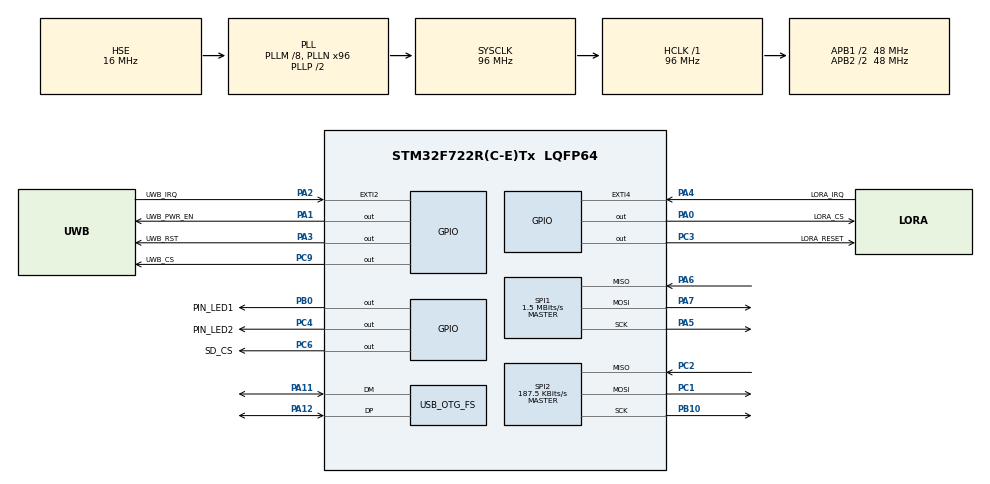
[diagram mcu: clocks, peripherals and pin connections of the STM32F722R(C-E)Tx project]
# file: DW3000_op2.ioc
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Mcu.Family=STM32F7
Mcu.Name=STM32F722R(C-E)Tx
Mcu.Package=LQFP64
NVIC.EXTI2_IRQn=true\:0\:0\:false\:false\:true\:true\:true\:true
NVIC.EXTI4_IRQn=true\:0\:0\:false\:false\:true\:true\:true\:true
NVIC.OTG_FS_IRQn=true\:0\:0\:false\:false\:true\:false\:true\:true
NVIC.PriorityGroup=NVIC_PRIORITYGROUP_4
PA0-WKUP.GPIO_Label=LORA_CS
PA0-WKUP.GPIO_PuPd=GPIO_PULLUP
PA0-WKUP.PinState=GPIO_PIN_SET
PA0-WKUP.Signal=GPIO_Output
PA1.GPIO_Label=UWB_PWR_EN
PA1.Signal=GPIO_Output
PA11.Mode=Device_Only
PA11.Signal=USB_OTG_FS_DM
PA12.Mode=Device_Only
PA12.Signal=USB_OTG_FS_DP
PA13.Mode=Serial_Wire
PA13.Signal=SYS_JTMS-SWDIO
PA14.Mode=Serial_Wire
PA14.Signal=SYS_JTCK-SWCLK
PA2.GPIO_Label=UWB_IRQ
PA2.GPIO_ModeDefaultEXTI=GPIO_MODE_IT_RISING
PA2.Signal=GPXTI2
PA3.GPIO_Label=UWB_RST
PA3.Signal=GPIO_Output
PA4.GPIO_Label=LORA_IRQ
PA4.GPIO_PuPd=GPIO_PULLDOWN
PA4.Signal=GPXTI4
PA5.Mode=Full_Duplex_Master
PA5.Signal=SPI1_SCK
PA6.Mode=Full_Duplex_Master
PA6.Signal=SPI1_MISO
PA7.Mode=Full_Duplex_Master
PA7.Signal=SPI1_MOSI
PB0.GPIO_Label=PIN_LED1
PB0.Signal=GPIO_Output
PB10.Mode=Full_Duplex_Master
PB10.Signal=SPI2_SCK
PC1.Mode=Full_Duplex_Master
PC1.Signal=SPI2_MOSI
PC14-OSC32_IN.Mode=LSE-External-Oscillator
PC14-OSC32_IN.Signal=RCC_OSC32_IN
PC15-OSC32_OUT.Mode=LSE-External-Oscillator
PC15-OSC32_OUT.Signal=RCC_OSC32_OUT
PC2.Mode=Full_Duplex_Master
PC2.Signal=SPI2_MISO
PC3.GPIO_Label=LORA_RESET
PC3.GPIO_PuPd=GPIO_PULLUP
PC3.Signal=GPIO_Output
PC4.GPIO_Label=PIN_LED2
PC4.Signal=GPIO_Output
PC6.GPIO_Label=SD_CS
PC6.GPIO_PuPd=GPIO_PULLUP
PC6.Signal=GPIO_Output
PC9.GPIO_Label=UWB_CS
PC9.GPIO_PuPd=GPIO_PULLUP
PC9.PinState=GPIO_PIN_SET
PC9.Signal=GPIO_Output
PH0-OSC_IN.Mode=HSE-External-Oscillator
PH0-OSC_IN.Signal=RCC_OSC_IN
PH1-OSC_OUT.Mode=HSE-External-Oscillator
PH1-OSC_OUT.Signal=RCC_OSC_OUT
ProjectManager.HeapSize=0x200
ProjectManager.StackSize=0x400
ProjectManager.TargetToolchain=STM32CubeIDE
RCC.AHBFreq_Value=96000000
RCC.APB1CLKDivider=RCC_HCLK_DIV2
RCC.APB1Freq_Value=48000000
RCC.APB1TimFreq_Value=96000000
RCC.APB2CLKDivider=RCC_HCLK_DIV2
RCC.APB2Freq_Value=48000000
RCC.APB2TimFreq_Value=96000000
RCC.CortexFreq_Value=96000000
RCC.HCLKFreq_Value=96000000
RCC.HSE_VALUE=16000000
RCC.HSI_VALUE=16000000
RCC.PLLM=8
RCC.PLLN=96
RCC.PLLQ=4
RCC.PWREXT_OverDrive=PWREXT_OverDrive_ACTIVATED
RCC.PWR_Regulator_Voltage_Scale=PWR_REGULATOR_VOLTAGE_SCALE1
RCC.SYSCLKFreq_VALUE=96000000
RCC.SYSCLKSource=RCC_SYSCLKSOURCE_PLLCLK
RCC.USBFreq_Value=48000000
RCC.VCOOutputFreq_Value=192000000
SPI1.BaudRatePrescaler=SPI_BAUDRATEPRESCALER_32
SPI1.CalculateBaudRate=1.5 MBits/s
SPI1.DataSize=SPI_DATASIZE_8BIT
SPI1.Direction=SPI_DIRECTION_2LINES
SPI1.Mode=SPI_MODE_MASTER
SPI1.VirtualType=VM_MASTER
SPI2.BaudRatePrescaler=SPI_BAUDRATEPRESCALER_256
SPI2.CalculateBaudRate=187.5 KBits/s
SPI2.DataSize=SPI_DATASIZE_8BIT
SPI2.Direction=SPI_DIRECTION_2LINES
SPI2.Mode=SPI_MODE_MASTER
SPI2.VirtualType=VM_MASTER
USB_DEVICE.CLASS_NAME_FS=CDC
USB_DEVICE.VirtualMode-CDC_FS=Cdc
USB_DEVICE.VirtualModeFS=Cdc_FS
USB_OTG_FS.VirtualMode=Device_Only
VP_FATFS_VS_Generic.Mode=User_defined
VP_USB_DEVICE_VS_USB_DEVICE_CDC_FS.Mode=CDC_FS
board=custom

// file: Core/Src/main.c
/* USER CODE BEGIN Header */
/**
  ******************************************************************************
  * @file           : main.c
  * @brief          : Main program body
  ******************************************************************************
  * @attention
  *
  * Copyright (c) 2025 STMicroelectronics.
  * All rights reserved.
  *
  * This software is licensed under terms that can be found in the LICENSE file
  * in the root directory of this software component.
  * If no LICENSE file comes with this software, it is provided AS-IS.
  *
  ******************************************************************************
  */
/* USER CODE END Header */
#include "main.h"
#include "fatfs.h"
#include "usb_device.h"

SPI_HandleTypeDef hspi1;
SPI_HandleTypeDef hspi2;

void SystemClock_Config(void);
static void MX_GPIO_Init(void);
static void MX_SPI1_Init(void);
static void MX_SPI2_Init(void);

int main(void)
{

  /* MCU Configuration--------------------------------------------------------*/

  /* Reset of all peripherals, Initializes the Flash interface and the Systick. */
  HAL_Init();

  /* Configure the system clock */
  SystemClock_Config();

  /* Initialize all configured peripherals */
  MX_GPIO_Init();
  MX_SPI1_Init();
  MX_SPI2_Init();
  MX_FATFS_Init();
  MX_USB_DEVICE_Init();
  /* USER CODE BEGIN 2 */

  HAL_Delay(200); // Time needed for DW3000 to start up (transition from INIT_RC to IDLE_RC, or could wait for SPIRDY event)

  while (!dwt_checkidlerc()) { // Need to make sure DW IC is in IDLE_RC before proceeding
    test_run_info((unsigned char *)"IDLE FAILED01\r\n");
    while (100)
      ;
  }

  dwt_softreset();
  delay(200);

  while (!dwt_checkidlerc()) {// Need to make sure DW IC is in IDLE_RC before proceeding
    test_run_info((unsigned char *)"IDLE FAILED02\r\n");
    while (100)
      ;
  }

  // test_run_info((unsigned char *)"IDLE OK\r\n");
  if (dwt_initialise(DWT_DW_INIT) == DWT_ERROR) {
    test_run_info((unsigned char *)"INIT FAILED\r\n");
    while (100)
      ;
  }
  // test_run_info((unsigned char *)"INIT OK\r\n");

  // Enabling LEDs here for debug so that for each TX the D1 LED will flash on DW3000 red eval-shield boards.
  dwt_setleds(DWT_LEDS_ENABLE | DWT_LEDS_INIT_BLINK);

  // Configure DW IC. See NOTE 5 below.
  if (dwt_configure(&config)) // if the dwt_configure returns DWT_ERROR either the PLL or RX calibration has failed the host should reset the device
  {
    test_run_info((unsigned char *)"CONFIG FAILED\r\n");
    while (100)
      ;
  }
  // test_run_info((unsigned char *)"CONFIG OK\r\n");
  /* Configure the TX spectrum parameters (power PG delay and PG Count) */
  dwt_configuretxrf(&txconfig_options);

  /* USER CODE END 2 */

  /* Infinite loop */
  while (1)
  {

  }
}

void SystemClock_Config(void)
{
  RCC_OscInitTypeDef RCC_OscInitStruct = {0};
  RCC_ClkInitTypeDef RCC_ClkInitStruct = {0};

  /** Configure LSE Drive Capability
  */
  HAL_PWR_EnableBkUpAccess();

  /** Configure the main internal regulator output voltage
  */
  __HAL_RCC_PWR_CLK_ENABLE();
  __HAL_PWR_VOLTAGESCALING_CONFIG(PWR_REGULATOR_VOLTAGE_SCALE1);

  /** Initializes the RCC Oscillators according to the specified parameters
  * in the RCC_OscInitTypeDef structure.
  */
  RCC_OscInitStruct.OscillatorType = RCC_OSCILLATORTYPE_HSE;
  RCC_OscInitStruct.HSEState = RCC_HSE_ON;
  RCC_OscInitStruct.PLL.PLLState = RCC_PLL_ON;
  RCC_OscInitStruct.PLL.PLLSource = RCC_PLLSOURCE_HSE;
  RCC_OscInitStruct.PLL.PLLM = 8;
  RCC_OscInitStruct.PLL.PLLN = 96;
  RCC_OscInitStruct.PLL.PLLP = RCC_PLLP_DIV2;
  RCC_OscInitStruct.PLL.PLLQ = 4;
  if (HAL_RCC_OscConfig(&RCC_OscInitStruct) != HAL_OK)
  {
    Error_Handler();
  }

  /** Activate the Over-Drive mode
  */
  if (HAL_PWREx_EnableOverDrive() != HAL_OK)
  {
    Error_Handler();
  }

  /** Initializes the CPU, AHB and APB buses clocks
  */
  RCC_ClkInitStruct.ClockType = RCC_CLOCKTYPE_HCLK|RCC_CLOCKTYPE_SYSCLK
                              |RCC_CLOCKTYPE_PCLK1|RCC_CLOCKTYPE_PCLK2;
  RCC_ClkInitStruct.SYSCLKSource = RCC_SYSCLKSOURCE_PLLCLK;
  RCC_ClkInitStruct.AHBCLKDivider = RCC_SYSCLK_DIV1;
  RCC_ClkInitStruct.APB1CLKDivider = RCC_HCLK_DIV2;
  RCC_ClkInitStruct.APB2CLKDivider = RCC_HCLK_DIV2;

  if (HAL_RCC_ClockConfig(&RCC_ClkInitStruct, FLASH_LATENCY_3) != HAL_OK)
  {
    Error_Handler();
  }
}

static void MX_SPI1_Init(void)
{

  /* SPI1 parameter configuration*/
  hspi1.Instance = SPI1;
  hspi1.Init.Mode = SPI_MODE_MASTER;
  hspi1.Init.Direction = SPI_DIRECTION_2LINES;
  hspi1.Init.DataSize = SPI_DATASIZE_8BIT;
  hspi1.Init.CLKPolarity = SPI_POLARITY_LOW;
  hspi1.Init.CLKPhase = SPI_PHASE_1EDGE;
  hspi1.Init.NSS = SPI_NSS_SOFT;
  hspi1.Init.BaudRatePrescaler = SPI_BAUDRATEPRESCALER_32;
  hspi1.Init.FirstBit = SPI_FIRSTBIT_MSB;
  hspi1.Init.TIMode = SPI_TIMODE_DISABLE;
  hspi1.Init.CRCCalculation = SPI_CRCCALCULATION_DISABLE;
  hspi1.Init.CRCPolynomial = 7;
  hspi1.Init.CRCLength = SPI_CRC_LENGTH_DATASIZE;
  hspi1.Init.NSSPMode = SPI_NSS_PULSE_ENABLE;
  if (HAL_SPI_Init(&hspi1) != HAL_OK)
  {
    Error_Handler();
  }

}

static void MX_SPI2_Init(void)
{

  /* SPI2 parameter configuration*/
  hspi2.Instance = SPI2;
  hspi2.Init.Mode = SPI_MODE_MASTER;
  hspi2.Init.Direction = SPI_DIRECTION_2LINES;
  hspi2.Init.DataSize = SPI_DATASIZE_8BIT;
  hspi2.Init.CLKPolarity = SPI_POLARITY_LOW;
  hspi2.Init.CLKPhase = SPI_PHASE_1EDGE;
  hspi2.Init.NSS = SPI_NSS_SOFT;
  hspi2.Init.BaudRatePrescaler = SPI_BAUDRATEPRESCALER_256;
  hspi2.Init.FirstBit = SPI_FIRSTBIT_MSB;
  hspi2.Init.TIMode = SPI_TIMODE_DISABLE;
  hspi2.Init.CRCCalculation = SPI_CRCCALCULATION_DISABLE;
  hspi2.Init.CRCPolynomial = 7;
  hspi2.Init.CRCLength = SPI_CRC_LENGTH_DATASIZE;
  hspi2.Init.NSSPMode = SPI_NSS_PULSE_ENABLE;
  if (HAL_SPI_Init(&hspi2) != HAL_OK)
  {
    Error_Handler();
  }

}

static void MX_GPIO_Init(void)
{
  GPIO_InitTypeDef GPIO_InitStruct = {0};

  /* GPIO Ports Clock Enable */
  __HAL_RCC_GPIOC_CLK_ENABLE();
  __HAL_RCC_GPIOH_CLK_ENABLE();
  __HAL_RCC_GPIOA_CLK_ENABLE();
  __HAL_RCC_GPIOB_CLK_ENABLE();

  /*Configure GPIO pin Output Level */
  HAL_GPIO_WritePin(GPIOC, LORA_RESET_Pin|PIN_LED2_Pin|SD_CS_Pin, GPIO_PIN_RESET);

  /*Configure GPIO pin Output Level */
  HAL_GPIO_WritePin(LORA_CS_GPIO_Port, LORA_CS_Pin, GPIO_PIN_SET);

  /*Configure GPIO pin Output Level */
  HAL_GPIO_WritePin(GPIOA, UWB_PWR_EN_Pin|UWB_RST_Pin, GPIO_PIN_RESET);

  /*Configure GPIO pin Output Level */
  HAL_GPIO_WritePin(PIN_LED1_GPIO_Port, PIN_LED1_Pin, GPIO_PIN_RESET);

  /*Configure GPIO pin Output Level */
  HAL_GPIO_WritePin(UWB_CS_GPIO_Port, UWB_CS_Pin, GPIO_PIN_SET);

  /*Configure GPIO pins : LORA_RESET_Pin SD_CS_Pin UWB_CS_Pin */
  GPIO_InitStruct.Pin = LORA_RESET_Pin|SD_CS_Pin|UWB_CS_Pin;
  GPIO_InitStruct.Mode = GPIO_MODE_OUTPUT_PP;
  GPIO_InitStruct.Pull = GPIO_PULLUP;
  GPIO_InitStruct.Speed = GPIO_SPEED_FREQ_LOW;
  HAL_GPIO_Init(GPIOC, &GPIO_InitStruct);

  /*Configure GPIO pin : LORA_CS_Pin */
  GPIO_InitStruct.Pin = LORA_CS_Pin;
  GPIO_InitStruct.Mode = GPIO_MODE_OUTPUT_PP;
  GPIO_InitStruct.Pull = GPIO_PULLUP;
  GPIO_InitStruct.Speed = GPIO_SPEED_FREQ_LOW;
  HAL_GPIO_Init(LORA_CS_GPIO_Port, &GPIO_InitStruct);

  /*Configure GPIO pins : UWB_PWR_EN_Pin UWB_RST_Pin */
  GPIO_InitStruct.Pin = UWB_PWR_EN_Pin|UWB_RST_Pin;
  GPIO_InitStruct.Mode = GPIO_MODE_OUTPUT_PP;
  GPIO_InitStruct.Pull = GPIO_NOPULL;
  GPIO_InitStruct.Speed = GPIO_SPEED_FREQ_LOW;
  HAL_GPIO_Init(GPIOA, &GPIO_InitStruct);

  /*Configure GPIO pin : UWB_IRQ_Pin */
  GPIO_InitStruct.Pin = UWB_IRQ_Pin;
  GPIO_InitStruct.Mode = GPIO_MODE_IT_RISING;
  GPIO_InitStruct.Pull = GPIO_NOPULL;
  HAL_GPIO_Init(UWB_IRQ_GPIO_Port, &GPIO_InitStruct);

  /*Configure GPIO pin : LORA_IRQ_Pin */
  GPIO_InitStruct.Pin = LORA_IRQ_Pin;
  GPIO_InitStruct.Mode = GPIO_MODE_IT_RISING;
  GPIO_InitStruct.Pull = GPIO_PULLDOWN;
  HAL_GPIO_Init(LORA_IRQ_GPIO_Port, &GPIO_InitStruct);

  /*Configure GPIO pin : PIN_LED2_Pin */
  GPIO_InitStruct.Pin = PIN_LED2_Pin;
  GPIO_InitStruct.Mode = GPIO_MODE_OUTPUT_PP;
  GPIO_InitStruct.Pull = GPIO_NOPULL;
  GPIO_InitStruct.Speed = GPIO_SPEED_FREQ_LOW;
  HAL_GPIO_Init(PIN_LED2_GPIO_Port, &GPIO_InitStruct);

  /*Configure GPIO pin : PIN_LED1_Pin */
  GPIO_InitStruct.Pin = PIN_LED1_Pin;
  GPIO_InitStruct.Mode = GPIO_MODE_OUTPUT_PP;
  GPIO_InitStruct.Pull = GPIO_NOPULL;
  GPIO_InitStruct.Speed = GPIO_SPEED_FREQ_LOW;
  HAL_GPIO_Init(PIN_LED1_GPIO_Port, &GPIO_InitStruct);

  /* EXTI interrupt init*/
  HAL_NVIC_SetPriority(EXTI2_IRQn, 0, 0);
  HAL_NVIC_EnableIRQ(EXTI2_IRQn);

  HAL_NVIC_SetPriority(EXTI4_IRQn, 0, 0);
  HAL_NVIC_EnableIRQ(EXTI4_IRQn);

}

void Error_Handler(void)
{
  __disable_irq();
  while (1)
  {
  }
}
